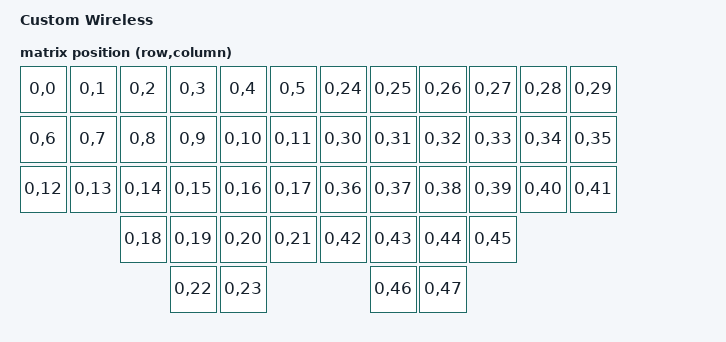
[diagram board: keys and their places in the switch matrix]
/*
*
* Copyright (c) 2021 Darryl deHaan
* SPDX-License-Identifier: MIT
*
*/

/dts-v1/;
#include <nordic/nrf52840_qiaa.dtsi>

#include <dt-bindings/zmk/matrix_transform.h>
#include <layouts/foostan/corne/position_map.dtsi>
#include <physical_layouts.dtsi>



/ {
    foostan_corne_6col_layout: foostan_corne_6col_layout {
        compatible = "zmk,physical-layout";
        display-name = "6 Column";

        keys  //                     w   h    x    y     rot    rx    ry
            = <&key_physical_attrs 100 100    0   37       0     0     0>
            , <&key_physical_attrs 100 100  100   37       0     0     0>
            , <&key_physical_attrs 100 100  200   12       0     0     0>
            , <&key_physical_attrs 100 100  300    0       0     0     0>
            , <&key_physical_attrs 100 100  400   12       0     0     0>
            , <&key_physical_attrs 100 100  500   24       0     0     0>
            , <&key_physical_attrs 100 100  800   24       0     0     0>
            , <&key_physical_attrs 100 100  900   12       0     0     0>
            , <&key_physical_attrs 100 100 1000    0       0     0     0>
            , <&key_physical_attrs 100 100 1100   12       0     0     0>
            , <&key_physical_attrs 100 100 1200   37       0     0     0>
            , <&key_physical_attrs 100 100 1300   37       0     0     0>
            , <&key_physical_attrs 100 100    0  137       0     0     0>
            , <&key_physical_attrs 100 100  100  137       0     0     0>
            , <&key_physical_attrs 100 100  200  112       0     0     0>
            , <&key_physical_attrs 100 100  300  100       0     0     0>
            , <&key_physical_attrs 100 100  400  112       0     0     0>
            , <&key_physical_attrs 100 100  500  124       0     0     0>
            , <&key_physical_attrs 100 100  800  124       0     0     0>
            , <&key_physical_attrs 100 100  900  112       0     0     0>
            , <&key_physical_attrs 100 100 1000  100       0     0     0>
            , <&key_physical_attrs 100 100 1100  112       0     0     0>
            , <&key_physical_attrs 100 100 1200  137       0     0     0>
            , <&key_physical_attrs 100 100 1300  137       0     0     0>
            , <&key_physical_attrs 100 100    0  237       0     0     0>
            , <&key_physical_attrs 100 100  100  237       0     0     0>
            , <&key_physical_attrs 100 100  200  212       0     0     0>
            , <&key_physical_attrs 100 100  300  200       0     0     0>
            , <&key_physical_attrs 100 100  400  212       0     0     0>
            , <&key_physical_attrs 100 100  500  224       0     0     0>
            , <&key_physical_attrs 100 100  800  224       0     0     0>
            , <&key_physical_attrs 100 100  900  212       0     0     0>
            , <&key_physical_attrs 100 100 1000  200       0     0     0>
            , <&key_physical_attrs 100 100 1100  212       0     0     0>
            , <&key_physical_attrs 100 100 1200  237       0     0     0>
            , <&key_physical_attrs 100 100 1300  237       0     0     0>
            , <&key_physical_attrs 100 100  350  312       0     0     0>
            , <&key_physical_attrs 100 100  450  312    1200   450   412>
            , <&key_physical_attrs 100 150  548  283    2400   548   433>
            , <&key_physical_attrs 100 150  752  283  (-2400)  852   433>
            , <&key_physical_attrs 100 100  850  312  (-1200)  950   412>
            , <&key_physical_attrs 100 100  950  312       0     0     0>
            , <&key_physical_attrs 100 100  950  312       0     0     0>
            , <&key_physical_attrs 100 100  950  312       0     0     0>
            , <&key_physical_attrs 100 100  950  312       0     0     0>
            , <&key_physical_attrs 100 100  950  312       0     0     0>
        ;
    };
};

&layouts_foostan_corne_position_map {
    foostan_corne_6col_posmap: six {
        physical-layout = <&foostan_corne_6col_layout>;
        positions
            = < 0  1  2  3  4  5  6  7  8  9 10 11>
            , <12 13 14 15 16 17 18 19 20 21 22 23>
            , <24 25 26 27 28 29 30 31 32 33 34 35>
            , <      36 37 38 39 40 41 42 43      >
			, <            44 45 46 47            >;
    };
};

&foostan_corne_6col_layout {
    transform = <&default_transform>;
};

/ {
    model = "Custom Wireless";
    compatible = "custom_wireless";

    chosen {
        zephyr,code-partition = &code_partition;
        zephyr,sram = &sram0;
        zephyr,flash = &flash0;
        zmk,kscan = &kscan0;
        zmk,physical-layout = &foostan_corne_6col_layout;
		zephyr,console = &cdc_acm_uart;
    };

    default_transform: keymap_transform_0 {
        compatible = "zmk,matrix-transform";
        columns = <47>;
        rows = <1>;

            // | SW1  | SW2  | SW3  | SW4  | SW5  | SW6  |   | SW6  | SW5  | SW4  | SW3  | SW2  | SW1  |
            // | SW7  | SW8  | SW9  | SW10 | SW11 | SW12 |   | SW12 | SW11 | SW10 | SW9  | SW8  | SW7  |
            // | SW13 | SW14 | SW15 | SW16 | SW17 | SW18 |   | SW18 | SW17 | SW16 | SW15 | SW14 | SW13 |
			//  				 | SW19 | SW20 | SW21 |   | SW21 | SW20 | SW19 |
                    map = <
            RC(0,0)   RC(0,1)  RC(0,2)  RC(0,3)  RC(0,4)  RC(0,5)	RC(0,24) RC(0,25) RC(0,26) RC(0,27) RC(0,28) RC(0,29)
            RC(0,6)   RC(0,7)  RC(0,8)  RC(0,9) RC(0,10) RC(0,11)   RC(0,30) RC(0,31) RC(0,32) RC(0,33) RC(0,34) RC(0,35) 
            RC(0,12) RC(0,13) RC(0,14) RC(0,15) RC(0,16) RC(0,17)	RC(0,36) RC(0,37) RC(0,38) RC(0,39) RC(0,40) RC(0,41) 
							  RC(0,18) RC(0,19) RC(0,20) RC(0,21)	RC(0,42) RC(0,43) RC(0,44) RC(0,45) 
									   RC(0,22) RC(0,23)					 RC(0,46) RC(0,47) 
        >;
    };


};

&adc {
    status = "okay";
};

&gpiote {
    status = "okay";
};

&gpio0 {
    status = "okay";
};

&gpio1 {
    status = "okay";
};

zephyr_udc0: &usbd {
    status = "okay";
};

&usbd {
  status = "okay";
  cdc_acm_uart: cdc_acm_uart {
    compatible = "zephyr,cdc-acm-uart";
  };
};

&flash0 {
    /*
     * For more information, see:
     * http://docs.zephyrproject.org/latest/devices/dts/flash_partitions.html
     */
    partitions {
        compatible = "fixed-partitions";
        #address-cells = <1>;
        #size-cells = <1>;

        sd_partition: partition@0 {
            reg = <0x00000000 0x00026000>;
        };
        code_partition: partition@26000 {
            reg = <0x00026000 0x000c6000>;
        };

        /*
         * The flash starting at 0x000ec000 and ending at
         * 0x000f3fff is reserved for use by the application.
         */

        /*
         * Storage partition will be used by FCB/LittleFS/NVS
         * if enabled.
         */
        storage_partition: partition@ec000 {
            reg = <0x000ec000 0x00008000>;
        };

        boot_partition: partition@f4000 {
            reg = <0x000f4000 0x0000c000>;
        };
    };
};
